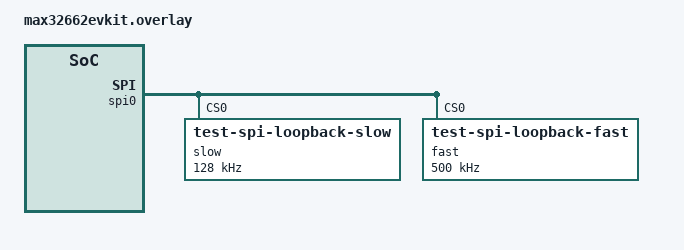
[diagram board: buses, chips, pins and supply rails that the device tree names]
/*
 * Copyright (c) 2024 Analog Devices, Inc.
 *
 * SPDX-License-Identifier: Apache-2.0
 */

/* Increase SRAM2 size to get enough space for image */
&sram2 {
	reg = <20008000 DT_SIZE_K(32)>;
};

&spi0 {
	dmas = <&dma0 1 MAX32_DMA_SLOT_SPI0_TX>, <&dma0 2 MAX32_DMA_SLOT_SPI0_RX>;
	dma-names = "tx", "rx";

	slow@0 {
		compatible = "test-spi-loopback-slow";
		reg = <0>;
		spi-max-frequency = <128000>;
	};
	fast@0 {
		compatible = "test-spi-loopback-fast";
		reg = <0>;
		spi-max-frequency = <500000>;
	};
};
